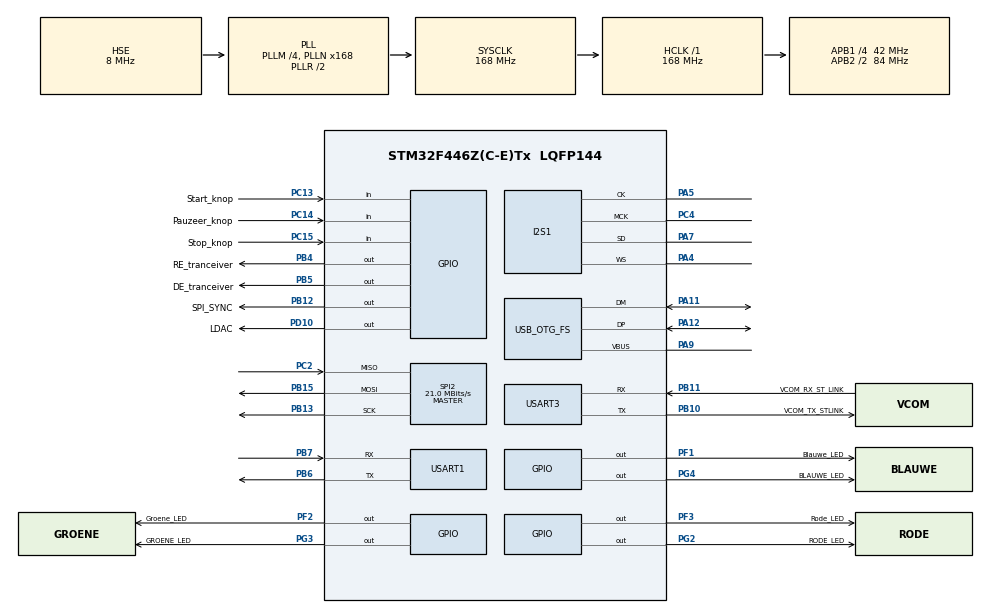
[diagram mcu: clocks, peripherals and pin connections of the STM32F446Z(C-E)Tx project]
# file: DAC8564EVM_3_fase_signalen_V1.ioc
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I2S1.ErrorAudioFreq=1.72 %
I2S1.FullDuplexMode=I2S_FULLDUPLEXMODE_DISABLE
I2S1.Instance=SPI$Index
I2S1.RealAudioFreq=8.138 KHz
I2S1.VirtualMode=I2S_MODE_MASTER
Mcu.Family=STM32F4
Mcu.Name=STM32F446Z(C-E)Tx
Mcu.Package=LQFP144
NVIC.OTG_FS_IRQn=true\:0\:0\:false\:false\:true\:false\:true\:true
NVIC.PriorityGroup=NVIC_PRIORITYGROUP_4
NVIC.TIM2_IRQn=true\:0\:0\:false\:false\:true\:true\:true\:true
PA11.Mode=Device_Only
PA11.Signal=USB_OTG_FS_DM
PA12.Mode=Device_Only
PA12.Signal=USB_OTG_FS_DP
PA13.Mode=Serial_Wire
PA13.Signal=SYS_JTMS-SWDIO
PA14.Mode=Serial_Wire
PA14.Signal=SYS_JTCK-SWCLK
PA4.Mode=Half_Duplex_Master
PA4.Signal=I2S1_WS
PA5.Mode=Half_Duplex_Master
PA5.Signal=I2S1_CK
PA7.Mode=Half_Duplex_Master
PA7.Signal=I2S1_SD
PA9.Mode=Activate_VBUS
PA9.Signal=USB_OTG_FS_VBUS
PB10.GPIO_Label=VCOM_TX_STLINK
PB10.Mode=Asynchronous
PB10.Signal=USART3_TX
PB11.GPIO_Label=VCOM_RX_ST_LINK
PB11.Mode=Asynchronous
PB11.Signal=USART3_RX
PB12.GPIO_Label=SPI_SYNC
PB12.Signal=GPIO_Output
PB13.Mode=Full_Duplex_Master
PB13.Signal=SPI2_SCK
PB15.Mode=Full_Duplex_Master
PB15.Signal=SPI2_MOSI
PB4.GPIO_Label=RE_tranceiver
PB4.Signal=GPIO_Output
PB5.GPIO_Label=DE_tranceiver
PB5.Signal=GPIO_Output
PB6.Mode=Asynchronous
PB6.Signal=USART1_TX
PB7.Mode=Asynchronous
PB7.Signal=USART1_RX
PC13.GPIO_Label=Start_knop
PC13.GPIO_PuPd=GPIO_PULLUP
PC13.Signal=GPIO_Input
PC14-OSC32_IN.GPIO_Label=Pauzeer_knop
PC14-OSC32_IN.GPIO_PuPd=GPIO_PULLUP
PC14-OSC32_IN.Signal=GPIO_Input
PC15-OSC32_OUT.GPIO_Label=Stop_knop
PC15-OSC32_OUT.GPIO_PuPd=GPIO_PULLUP
PC15-OSC32_OUT.Signal=GPIO_Input
PC2.Mode=Full_Duplex_Master
PC2.Signal=SPI2_MISO
PC4.Mode=Master_Clock_Activated
PC4.Signal=I2S1_MCK
PD10.GPIO_Label=LDAC
PD10.Signal=GPIO_Output
PF1.GPIO_Label=Blauwe_LED
PF1.Signal=GPIO_Output
PF2.GPIO_Label=Groene_LED
PF2.Signal=GPIO_Output
PF3.GPIO_Label=Rode_LED
PF3.Signal=GPIO_Output
PG2.GPIO_Label=RODE_LED
PG2.Signal=GPIO_Output
PG3.GPIO_Label=GROENE_LED
PG3.Signal=GPIO_Output
PG4.GPIO_Label=BLAUWE_LED
PG4.Signal=GPIO_Output
PH0-OSC_IN.Mode=HSE-External-Oscillator
PH0-OSC_IN.Signal=RCC_OSC_IN
PH1-OSC_OUT.Mode=HSE-External-Oscillator
PH1-OSC_OUT.Signal=RCC_OSC_OUT
ProjectManager.HeapSize=0x200
ProjectManager.StackSize=0x400
ProjectManager.TargetToolchain=STM32CubeIDE
RCC.AHBFreq_Value=168000000
RCC.APB1CLKDivider=RCC_HCLK_DIV4
RCC.APB1Freq_Value=42000000
RCC.APB1TimFreq_Value=84000000
RCC.APB2CLKDivider=RCC_HCLK_DIV2
RCC.APB2Freq_Value=84000000
RCC.APB2TimFreq_Value=168000000
RCC.CortexFreq_Value=168000000
RCC.HCLKFreq_Value=168000000
RCC.HSE_VALUE=8000000
RCC.PLLI2SM=4
RCC.PLLI2SN=50
RCC.PLLM=4
RCC.PLLN=168
RCC.PLLQ=7
RCC.SYSCLKFreq_VALUE=168000000
RCC.SYSCLKSource=RCC_SYSCLKSOURCE_PLLRCLK
RCC.USBFreq_Value=48000000
RCC.VCOOutputFreq_Value=336000000
SPI2.CalculateBaudRate=21.0 MBits/s
SPI2.Direction=SPI_DIRECTION_2LINES
SPI2.Mode=SPI_MODE_MASTER
SPI2.VirtualType=VM_MASTER
TIM2.Period=1749
USART1.VirtualMode=VM_ASYNC
USART3.VirtualMode=VM_ASYNC
USB_DEVICE.CLASS_NAME_FS=CDC
USB_DEVICE.PRODUCT_STRING_CDC_FS=YOUNES STM32
USB_DEVICE.VirtualMode-CDC_FS=Cdc
USB_DEVICE.VirtualModeFS=Cdc_FS
USB_OTG_FS.VirtualMode=Device_Only
VP_TIM2_VS_ClockSourceINT.Mode=Internal
VP_USB_DEVICE_VS_USB_DEVICE_CDC_FS.Mode=CDC_FS
board=custom

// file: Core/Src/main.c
/* USER CODE BEGIN Header */
/**
  ******************************************************************************
  * @file           : main.c
  * @brief          : Main program body
  ******************************************************************************
  * @attention
  *
  * Copyright (c) 2024 STMicroelectronics.
  * All rights reserved.
  *
  * This software is licensed under terms that can be found in the LICENSE file
  * in the root directory of this software component.
  * If no LICENSE file comes with this software, it is provided AS-IS.
  *
  ******************************************************************************
  */
/* USER CODE END Header */
#include "main.h"
#include "usb_device.h"

/* USER CODE BEGIN Includes */
#include <math.h>
#include <stdint.h>
#include <stdlib.h>
#include <stdio.h>
#include <string.h>
#include "stm32f4xx_hal.h"
/* USER CODE END Includes */

/* USER CODE BEGIN PD */
#define SPI_TIMEOUT 1000
#define DAC8564_SEQUENTIANALY_WRITE_UPDATE 0x10
#define VREF 2.5
#define AMPLITUDE 0.7
#define OFFSET (VREF / 2)
#define PI 3.14159265
#define SAMPLE_RATE 48000
#define FREQUENCY 50
#define NUM_SAMPLES (SAMPLE_RATE / FREQUENCY)
#define PHASE_SHIFT_120_DEG (2.0 * PI / 3.0)  // 120-degree phase shift
#define PHASE_SHIFT_240_DEG (4.0 * PI / 3.0)
/* USER CODE END PD */

I2S_HandleTypeDef hi2s1;

SPI_HandleTypeDef hspi2;

TIM_HandleTypeDef htim2;

UART_HandleTypeDef huart1;
UART_HandleTypeDef huart3;

/* USER CODE BEGIN PV */
uint16_t sine_wave_A[NUM_SAMPLES];
uint16_t sine_wave_B[NUM_SAMPLES];
uint16_t sine_wave_C[NUM_SAMPLES];
volatile uint16_t sample_index = 0;
/* USER CODE END PV */

void SystemClock_Config(void);
static void MX_GPIO_Init(void);
static void MX_USART1_UART_Init(void);
static void MX_USART3_UART_Init(void);
static void MX_TIM2_Init(void);
static void MX_I2S1_Init(void);
static void MX_SPI2_Init(void);

/* USER CODE BEGIN 0 */
void calculate_three_phase_sine_wave_samples() {
    for (int i = 0; i < NUM_SAMPLES; i++) {
        double t = (double)i / SAMPLE_RATE;

        // Phase A
        double sample_A = AMPLITUDE * sin(2 * PI * FREQUENCY * t);
        sine_wave_A[i] = (uint16_t)((65536 / (2 * VREF)) * (sample_A + OFFSET));

        // Phase B (120 degrees shifted)
        double sample_B = AMPLITUDE * sin(2 * PI * FREQUENCY * t + PHASE_SHIFT_120_DEG);
        sine_wave_B[i] = (uint16_t)((65536 / (2 * VREF)) * (sample_B + OFFSET));

        // Phase C (240 degrees shifted)
        double sample_C = AMPLITUDE * sin(2 * PI * FREQUENCY * t + PHASE_SHIFT_240_DEG);
        sine_wave_C[i] = (uint16_t)((65536 / (2 * VREF)) * (sample_C + OFFSET));
    }
}

void DAC8564_Write(uint16_t channel, uint16_t value) {
    uint8_t data[3];
    data[0] = DAC8564_SEQUENTIANALY_WRITE_UPDATE | (channel << 1);  // Set command and channel
    data[1] = (value >> 8) & 0xFF;  // MSB
    data[2] = value & 0xFF;  // LSB

    HAL_GPIO_WritePin(GPIOB, SPI_SYNC_Pin, GPIO_PIN_RESET);  // CS Low
    HAL_SPI_Transmit(&hspi2, data, 3, SPI_TIMEOUT);
    HAL_GPIO_WritePin(GPIOB, SPI_SYNC_Pin, GPIO_PIN_SET);  // CS High
}

void HAL_TIM_PeriodElapsedCallback(TIM_HandleTypeDef *htim) {
    if (htim->Instance == TIM2) {
        // Output the current sample for each phase to respective DAC channels
        DAC8564_Write(0, sine_wave_A[sample_index]);  // Phase A on DAC A
        DAC8564_Write(1, sine_wave_B[sample_index]);  // Phase B on DAC B
        DAC8564_Write(2, sine_wave_C[sample_index]);  // Phase C on DAC C

        // Increment the sample index
        sample_index = (sample_index + 1) % NUM_SAMPLES;
    }
}

void SET_refference() {
    uint8_t data[3];
    data[0] = 0x01;
    data[1] = 0x10;
    data[2] = 0x00;

    HAL_GPIO_WritePin(GPIOB, SPI_SYNC_Pin, GPIO_PIN_RESET);
    HAL_SPI_Transmit(&hspi2, data, 3, SPI_TIMEOUT);
    HAL_GPIO_WritePin(GPIOB, SPI_SYNC_Pin, GPIO_PIN_SET);
}
/* USER CODE END 0 */

int main(void)
{

  /* MCU Configuration--------------------------------------------------------*/

  /* Reset of all peripherals, Initializes the Flash interface and the Systick. */
  HAL_Init();

  /* Configure the system clock */
  SystemClock_Config();

  /* Initialize all configured peripherals */
  MX_GPIO_Init();
  MX_USART1_UART_Init();
  MX_USART3_UART_Init();
  MX_USB_DEVICE_Init();
  MX_TIM2_Init();
  MX_I2S1_Init();
  MX_SPI2_Init();
  /* USER CODE BEGIN 2 */

  HAL_Delay(150);
  HAL_GPIO_WritePin(GPIOB, SPI_SYNC_Pin, GPIO_PIN_SET);
  HAL_Delay(10);
  SET_refference();

  // Calculate samples for three-phase sine waves
  calculate_three_phase_sine_wave_samples();

  if (HAL_TIM_Base_Start_IT(&htim2) != HAL_OK) {
      Error_Handler();
  }

  /* USER CODE END 2 */

  /* Infinite loop */
  while (1)
  {

  }
}

void SystemClock_Config(void)
{
  RCC_OscInitTypeDef RCC_OscInitStruct = {0};
  RCC_ClkInitTypeDef RCC_ClkInitStruct = {0};

  /** Configure the main internal regulator output voltage
  */
  __HAL_RCC_PWR_CLK_ENABLE();
  __HAL_PWR_VOLTAGESCALING_CONFIG(PWR_REGULATOR_VOLTAGE_SCALE1);

  /** Initializes the RCC Oscillators according to the specified parameters
  * in the RCC_OscInitTypeDef structure.
  */
  RCC_OscInitStruct.OscillatorType = RCC_OSCILLATORTYPE_HSE;
  RCC_OscInitStruct.HSEState = RCC_HSE_ON;
  RCC_OscInitStruct.PLL.PLLState = RCC_PLL_ON;
  RCC_OscInitStruct.PLL.PLLSource = RCC_PLLSOURCE_HSE;
  RCC_OscInitStruct.PLL.PLLM = 4;
  RCC_OscInitStruct.PLL.PLLN = 168;
  RCC_OscInitStruct.PLL.PLLP = RCC_PLLP_DIV2;
  RCC_OscInitStruct.PLL.PLLQ = 7;
  RCC_OscInitStruct.PLL.PLLR = 2;
  if (HAL_RCC_OscConfig(&RCC_OscInitStruct) != HAL_OK)
  {
    Error_Handler();
  }

  /** Initializes the CPU, AHB and APB buses clocks
  */
  RCC_ClkInitStruct.ClockType = RCC_CLOCKTYPE_HCLK|RCC_CLOCKTYPE_SYSCLK
                              |RCC_CLOCKTYPE_PCLK1|RCC_CLOCKTYPE_PCLK2;
  RCC_ClkInitStruct.SYSCLKSource = RCC_SYSCLKSOURCE_PLLRCLK;
  RCC_ClkInitStruct.AHBCLKDivider = RCC_SYSCLK_DIV1;
  RCC_ClkInitStruct.APB1CLKDivider = RCC_HCLK_DIV4;
  RCC_ClkInitStruct.APB2CLKDivider = RCC_HCLK_DIV2;

  if (HAL_RCC_ClockConfig(&RCC_ClkInitStruct, FLASH_LATENCY_5) != HAL_OK)
  {
    Error_Handler();
  }
}

static void MX_I2S1_Init(void)
{

  hi2s1.Instance = SPI1;
  hi2s1.Init.Mode = I2S_MODE_MASTER_TX;
  hi2s1.Init.Standard = I2S_STANDARD_PHILIPS;
  hi2s1.Init.DataFormat = I2S_DATAFORMAT_16B;
  hi2s1.Init.MCLKOutput = I2S_MCLKOUTPUT_ENABLE;
  hi2s1.Init.AudioFreq = I2S_AUDIOFREQ_8K;
  hi2s1.Init.CPOL = I2S_CPOL_LOW;
  hi2s1.Init.ClockSource = I2S_CLOCK_PLL;
  hi2s1.Init.FullDuplexMode = I2S_FULLDUPLEXMODE_DISABLE;
  if (HAL_I2S_Init(&hi2s1) != HAL_OK)
  {
    Error_Handler();
  }

}

static void MX_SPI2_Init(void)
{

  /* SPI2 parameter configuration*/
  hspi2.Instance = SPI2;
  hspi2.Init.Mode = SPI_MODE_MASTER;
  hspi2.Init.Direction = SPI_DIRECTION_2LINES;
  hspi2.Init.DataSize = SPI_DATASIZE_8BIT;
  hspi2.Init.CLKPolarity = SPI_POLARITY_LOW;
  hspi2.Init.CLKPhase = SPI_PHASE_1EDGE;
  hspi2.Init.NSS = SPI_NSS_SOFT;
  hspi2.Init.BaudRatePrescaler = SPI_BAUDRATEPRESCALER_2;
  hspi2.Init.FirstBit = SPI_FIRSTBIT_MSB;
  hspi2.Init.TIMode = SPI_TIMODE_DISABLE;
  hspi2.Init.CRCCalculation = SPI_CRCCALCULATION_DISABLE;
  hspi2.Init.CRCPolynomial = 10;
  if (HAL_SPI_Init(&hspi2) != HAL_OK)
  {
    Error_Handler();
  }

}

static void MX_TIM2_Init(void)
{

  TIM_ClockConfigTypeDef sClockSourceConfig = {0};
  TIM_MasterConfigTypeDef sMasterConfig = {0};

  htim2.Instance = TIM2;
  htim2.Init.Prescaler = 0;
  htim2.Init.CounterMode = TIM_COUNTERMODE_UP;
  htim2.Init.Period = 1749;
  htim2.Init.ClockDivision = TIM_CLOCKDIVISION_DIV1;
  htim2.Init.AutoReloadPreload = TIM_AUTORELOAD_PRELOAD_DISABLE;
  if (HAL_TIM_Base_Init(&htim2) != HAL_OK)
  {
    Error_Handler();
  }
  sClockSourceConfig.ClockSource = TIM_CLOCKSOURCE_INTERNAL;
  if (HAL_TIM_ConfigClockSource(&htim2, &sClockSourceConfig) != HAL_OK)
  {
    Error_Handler();
  }
  sMasterConfig.MasterOutputTrigger = TIM_TRGO_RESET;
  sMasterConfig.MasterSlaveMode = TIM_MASTERSLAVEMODE_DISABLE;
  if (HAL_TIMEx_MasterConfigSynchronization(&htim2, &sMasterConfig) != HAL_OK)
  {
    Error_Handler();
  }

}

static void MX_USART1_UART_Init(void)
{

  huart1.Instance = USART1;
  huart1.Init.BaudRate = 115200;
  huart1.Init.WordLength = UART_WORDLENGTH_8B;
  huart1.Init.StopBits = UART_STOPBITS_1;
  huart1.Init.Parity = UART_PARITY_NONE;
  huart1.Init.Mode = UART_MODE_TX_RX;
  huart1.Init.HwFlowCtl = UART_HWCONTROL_NONE;
  huart1.Init.OverSampling = UART_OVERSAMPLING_16;
  if (HAL_UART_Init(&huart1) != HAL_OK)
  {
    Error_Handler();
  }

}

static void MX_USART3_UART_Init(void)
{

  huart3.Instance = USART3;
  huart3.Init.BaudRate = 115200;
  huart3.Init.WordLength = UART_WORDLENGTH_8B;
  huart3.Init.StopBits = UART_STOPBITS_1;
  huart3.Init.Parity = UART_PARITY_NONE;
  huart3.Init.Mode = UART_MODE_TX_RX;
  huart3.Init.HwFlowCtl = UART_HWCONTROL_NONE;
  huart3.Init.OverSampling = UART_OVERSAMPLING_16;
  if (HAL_UART_Init(&huart3) != HAL_OK)
  {
    Error_Handler();
  }

}

static void MX_GPIO_Init(void)
{
  GPIO_InitTypeDef GPIO_InitStruct = {0};

  /* GPIO Ports Clock Enable */
  __HAL_RCC_GPIOC_CLK_ENABLE();
  __HAL_RCC_GPIOF_CLK_ENABLE();
  __HAL_RCC_GPIOH_CLK_ENABLE();
  __HAL_RCC_GPIOA_CLK_ENABLE();
  __HAL_RCC_GPIOB_CLK_ENABLE();
  __HAL_RCC_GPIOD_CLK_ENABLE();
  __HAL_RCC_GPIOG_CLK_ENABLE();

  /*Configure GPIO pin Output Level */
  HAL_GPIO_WritePin(GPIOF, Blauwe_LED_Pin|Groene_LED_Pin|Rode_LED_Pin, GPIO_PIN_RESET);

  /*Configure GPIO pin Output Level */
  HAL_GPIO_WritePin(GPIOB, SPI_SYNC_Pin|RE_tranceiver_Pin|DE_tranceiver_Pin, GPIO_PIN_RESET);

  /*Configure GPIO pin Output Level */
  HAL_GPIO_WritePin(LDAC_GPIO_Port, LDAC_Pin, GPIO_PIN_RESET);

  /*Configure GPIO pin Output Level */
  HAL_GPIO_WritePin(GPIOG, RODE_LED_Pin|GROENE_LED_Pin|BLAUWE_LED_Pin, GPIO_PIN_RESET);

  /*Configure GPIO pins : Start_knop_Pin Pauzeer_knop_Pin Stop_knop_Pin */
  GPIO_InitStruct.Pin = Start_knop_Pin|Pauzeer_knop_Pin|Stop_knop_Pin;
  GPIO_InitStruct.Mode = GPIO_MODE_INPUT;
  GPIO_InitStruct.Pull = GPIO_PULLUP;
  HAL_GPIO_Init(GPIOC, &GPIO_InitStruct);

  /*Configure GPIO pins : Blauwe_LED_Pin Groene_LED_Pin Rode_LED_Pin */
  GPIO_InitStruct.Pin = Blauwe_LED_Pin|Groene_LED_Pin|Rode_LED_Pin;
  GPIO_InitStruct.Mode = GPIO_MODE_OUTPUT_PP;
  GPIO_InitStruct.Pull = GPIO_NOPULL;
  GPIO_InitStruct.Speed = GPIO_SPEED_FREQ_LOW;
  HAL_GPIO_Init(GPIOF, &GPIO_InitStruct);

  /*Configure GPIO pins : SPI_SYNC_Pin RE_tranceiver_Pin DE_tranceiver_Pin */
  GPIO_InitStruct.Pin = SPI_SYNC_Pin|RE_tranceiver_Pin|DE_tranceiver_Pin;
  GPIO_InitStruct.Mode = GPIO_MODE_OUTPUT_PP;
  GPIO_InitStruct.Pull = GPIO_NOPULL;
  GPIO_InitStruct.Speed = GPIO_SPEED_FREQ_LOW;
  HAL_GPIO_Init(GPIOB, &GPIO_InitStruct);

  /*Configure GPIO pin : LDAC_Pin */
  GPIO_InitStruct.Pin = LDAC_Pin;
  GPIO_InitStruct.Mode = GPIO_MODE_OUTPUT_PP;
  GPIO_InitStruct.Pull = GPIO_NOPULL;
  GPIO_InitStruct.Speed = GPIO_SPEED_FREQ_LOW;
  HAL_GPIO_Init(LDAC_GPIO_Port, &GPIO_InitStruct);

  /*Configure GPIO pins : RODE_LED_Pin GROENE_LED_Pin BLAUWE_LED_Pin */
  GPIO_InitStruct.Pin = RODE_LED_Pin|GROENE_LED_Pin|BLAUWE_LED_Pin;
  GPIO_InitStruct.Mode = GPIO_MODE_OUTPUT_PP;
  GPIO_InitStruct.Pull = GPIO_NOPULL;
  GPIO_InitStruct.Speed = GPIO_SPEED_FREQ_LOW;
  HAL_GPIO_Init(GPIOG, &GPIO_InitStruct);

}

void Error_Handler(void)
{
  __disable_irq();
  while (1)
  {
  }
}
